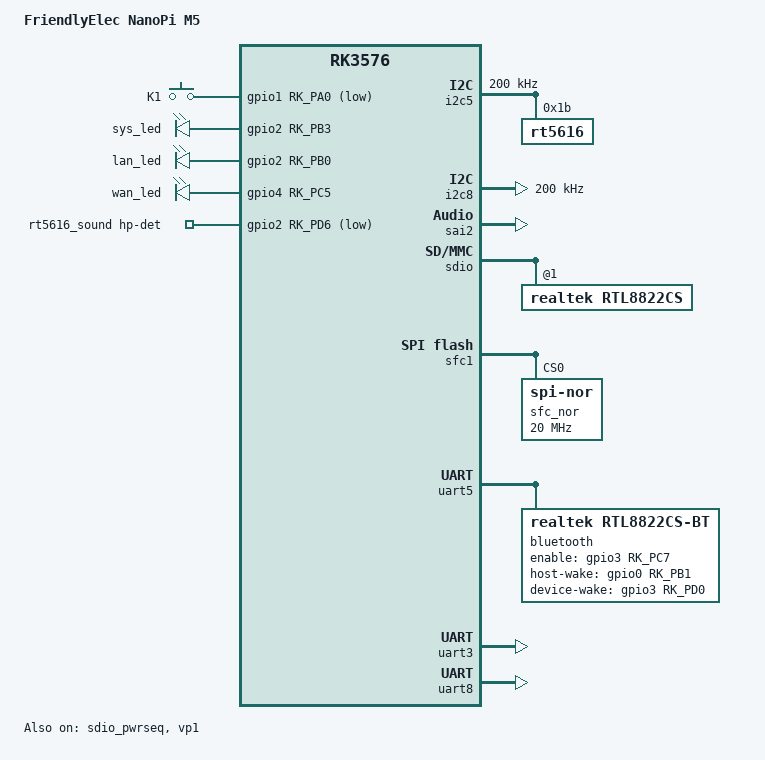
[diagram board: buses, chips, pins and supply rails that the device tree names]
// SPDX-License-Identifier: (GPL-2.0+ OR MIT)
/*
 * Copyright (c) 2025 FriendlyElec Computer Tech. Co., Ltd.
 * (http://www.friendlyelec.com)
 */

/dts-v1/;

#include "rk3576-nanopi5-common.dtsi"

/ {
	model = "FriendlyElec NanoPi M5";
	compatible = "friendlyelec,nanopi-m5", "rockchip,rk3576";

	/delete-node/ chosen;

	gpio_keys: gpio-keys {
		compatible = "gpio-keys";
		pinctrl-names = "default";
		pinctrl-0 = <&key1_pin>;

		button@1 {
			debounce-interval = <50>;
			gpios = <&gpio1 RK_PA0 GPIO_ACTIVE_LOW>;
			label = "K1";
			linux,code = <BTN_1>;
			wakeup-source;
		};
	};

	gpio_leds: gpio-leds {
		compatible = "gpio-leds";

		sys_led: led-0 {
			gpios = <&gpio2 RK_PB3 GPIO_ACTIVE_HIGH>;
			label = "sys_led";
			linux,default-trigger = "heartbeat";
			pinctrl-names = "default";
			pinctrl-0 = <&sys_led_pin>;
		};

		lan_led: led-1 {
			gpios = <&gpio2 RK_PB0 GPIO_ACTIVE_HIGH>;
			label = "lan_led";
			pinctrl-names = "default";
			pinctrl-0 = <&lan_led_pin>;
		};

		wan_led: led-2 {
			gpios = <&gpio4 RK_PC5 GPIO_ACTIVE_HIGH>;
			label = "wan_led";
			pinctrl-names = "default";
			pinctrl-0 = <&wan_led_pin>;
		};
	};

	rt5616_sound: rt5616-sound {
		status = "okay";
		compatible = "simple-audio-card";
		pinctrl-names = "default";
		pinctrl-0 = <&hp_det>;

		simple-audio-card,name = "realtek,rt5616-codec";
		simple-audio-card,format = "i2s";
		simple-audio-card,mclk-fs = <256>;

		simple-audio-card,hp-det-gpio = <&gpio2 RK_PD6 GPIO_ACTIVE_LOW>;
		simple-audio-card,hp-pin-name = "Headphone Jack";

		simple-audio-card,widgets =
			"Headphone", "Headphone Jack",
			"Microphone", "Microphone Jack";
		simple-audio-card,routing =
			"Headphone Jack", "HPOL",
			"Headphone Jack", "HPOR",
			"MIC1", "Microphone Jack",
			"Microphone Jack", "micbias1";

		simple-audio-card,cpu {
			sound-dai = <&sai2>;
		};
		simple-audio-card,codec {
			sound-dai = <&rt5616>;
		};
	};
};

&i2c5 {
	status = "okay";
	clock-frequency = <200000>;
	pinctrl-0 = <&i2c5m3_xfer>;

	rt5616: rt5616@1b {
		status = "okay";
		#sound-dai-cells = <0>;
		compatible = "rt5616";
		reg = <0x1b>;
		clocks = <&mclkout_sai2>;
		clock-names = "mclk";
		assigned-clocks = <&mclkout_sai2>;
		assigned-clock-rates = <12288000>;
		pinctrl-names = "default";
		pinctrl-0 = <&sai2m0_mclk>;
	};
};

&i2c8 {
	clock-frequency = <200000>;
	pinctrl-0 = <&i2c8m2_xfer>;
};

&pinctrl {
	gpio-key {
		key1_pin: key1-pin {
			rockchip,pins = <4 RK_PA2 RK_FUNC_GPIO &pcfg_pull_up>;
		};
	};

	gpio-leds {
		sys_led_pin: sys-led-pin {
			rockchip,pins = <2 RK_PB3 RK_FUNC_GPIO &pcfg_pull_none>;
		};

		lan_led_pin: lan-led-pin {
			rockchip,pins = <2 RK_PB0 RK_FUNC_GPIO &pcfg_pull_none>;
		};

		wan_led_pin: wan-led-pin {
			rockchip,pins = <4 RK_PC5 RK_FUNC_GPIO &pcfg_pull_none>;
		};
	};

	headphone {
		hp_det: hp-det {
			rockchip,pins = <2 RK_PD6 RK_FUNC_GPIO &pcfg_pull_none>;
		};
	};
};

&sai2 {
	status = "okay";
};

&sdhci {
	status = "disabled";
};

&sdio_pwrseq {
	status = "okay";
};

&sdio {
	status = "okay";
	vqmmc-supply = <&vcc_1v8_s0>;
	sd-uhs-sdr104;
	#address-cells = <1>;
	#size-cells = <0>;

	rtl8822cs@1 {
		reg = <1>;
		compatible = "realtek,rtl8822cs";
	};
};

&fspi1m1_pins {
	rockchip,pins =
		/* clk, d0~4 */
		<1 RK_PD5 3 &pcfg_pull_none>,
		<1 RK_PC4 3 &pcfg_pull_none>,
		<1 RK_PC5 3 &pcfg_pull_none>,
		<1 RK_PC6 3 &pcfg_pull_none>,
		<1 RK_PC7 3 &pcfg_pull_none>;
};

&sfc1 {
	status = "okay";
	pinctrl-names = "default";
	pinctrl-0 = <&fspi1m1_csn0 &fspi1m1_pins>;
	#address-cells = <1>;
	#size-cells = <0>;

	spi-nor@0 {
		compatible = "jedec,spi-nor";
		label = "sfc_nor";
		reg = <0>;
		m25p,fast-read;
		spi-max-frequency = <20000000>;
		spi-rx-bus-width = <4>;
		spi-tx-bus-width = <1>;
	};
};

&uart5 {
	pinctrl-names = "default";
	pinctrl-0 = <&uart5m0_xfer &uart5m0_ctsn &uart5m0_rtsn>;
	status = "okay";

	bluetooth {
		compatible = "realtek,rtl8822cs-bt";
		enable-gpios = <&gpio3 RK_PC7 GPIO_ACTIVE_HIGH>;
		host-wake-gpios = <&gpio0 RK_PB1 GPIO_ACTIVE_HIGH>;
		device-wake-gpios = <&gpio3 RK_PD0 GPIO_ACTIVE_HIGH>;
	};
};

&usbdp_phy_dp {
	status = "disabled";
};

&vop {
	disable-win-move;
};

&vp1 {
    status = "okay";
};

&vp2 {
	status = "disabled";
};

/* GPIO Connector */
&gpio0 {
	gpio-line-names =
		/* GPIO0 A0-A7 */
		"", "", "", "",
		"", "", "", "",
		/* GPIO0 B0-B7 */
		"", "", "", "",
		"", "PIN_12", "", "",
		/* GPIO0 C0-C7 */
		"", "PIN_05 [I2C0_SCL_M1]", "PIN_03 [I2C0_SDA_M1]", "",
		"PIN_22", "", "", "",
		/* GPIO0 D0-D7 */
		"", "", "", "",
		"", "", "", "";
};

&gpio1 {
	gpio-line-names =
		/* GPIO1 A0-A7 */
		"", "", "", "",
		"", "", "", "",
		/* GPIO1 B0-B7 */
		"", "", "", "",
		"", "", "", "",
		/* GPIO1 C0-C7 */
		"", "", "", "",
		"", "", "", "",
		/* GPIO1 D0-D7 */
		"", "", "", "",
		"", "", "", "";
};

&gpio2 {
	gpio-line-names =
		/* GPIO2 A0-A7 */
		"", "", "", "",
		"", "", "PIN_11 [UART8_TX_M1]", "PIN_13 [UART8_RX_M1]",
		/* GPIO2 B0-B7 */
		"", "", "", "",
		"", "", "", "",
		/* GPIO2 C0-C7 */
		"", "", "", "",
		"", "", "", "",
		/* GPIO2 D0-D7 */
		"", "", "", "",
		"", "", "", "";
};

&gpio3 {
	gpio-line-names =
		/* GPIO3 A0-A7 */
		"PIN_16 [UART3_TX_M0]", "PIN_18 [UART3_RX_M0]", "", "",
		"", "", "", "",
		/* GPIO3 B0-B7 */
		"", "", "", "",
		"", "", "", "",
		/* GPIO3 C0-C7 */
		"", "", "", "",
		"", "", "", "",
		/* GPIO3 D0-D7 */
		"", "", "", "",
		"", "", "", "";
};

&gpio4 {
	gpio-line-names =
		/* GPIO4 A0-A7 */
		"", "",
		"PIN_15", "PIN_29",
		"PIN_28", "PIN_07",
		"PIN_26", "PIN_27",
		/* GPIO4 B0-B7 */
		"PIN_23", "PIN_19",
		"PIN_21", "PIN_24",
		"PIN_10", "PIN_08",
		"", "",
		/* GPIO4 C0-C7 */
		"", "", "", "",
		"", "", "", "",
		/* GPIO4 D0-D7 */
		"", "", "", "",
		"", "", "", "";
};

&spi3 {
	status = "disabled";
	pinctrl-0 = <&spi3m2_csn0 &spi3m2_csn1 &spi3m2_pins>;

	spidev0: spidev@0 {
		compatible = "rockchip,spidev";
		reg = <0>;
		spi-max-frequency = <10000000>;
		status = "disabled";
	};
};

&sai1 {
	status = "disabled";
};

&uart2 {
	pinctrl-0 = <&uart2m1_xfer &uart2m1_ctsn &uart2m1_rtsn>;
	status = "disabled";
};

&uart3 {
	pinctrl-0 = <&uart3m0_xfer>;
	status = "okay";
};

&uart8 {
	pinctrl-0 = <&uart8m1_xfer>;
	status = "okay";
};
